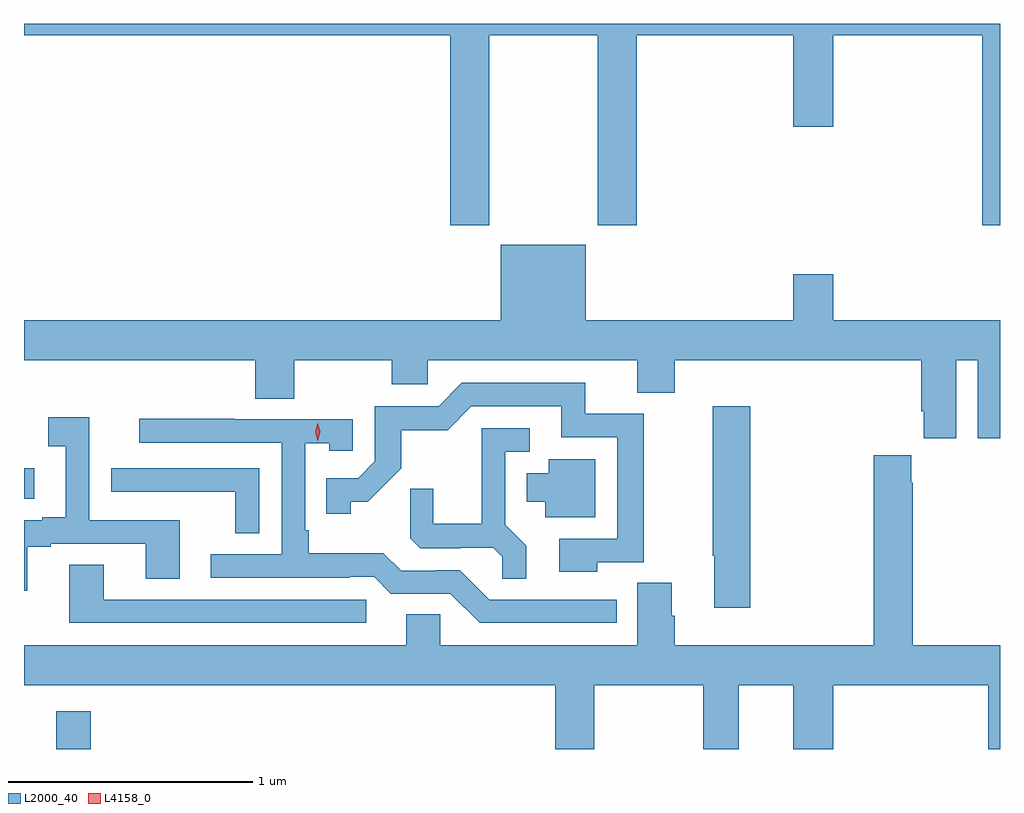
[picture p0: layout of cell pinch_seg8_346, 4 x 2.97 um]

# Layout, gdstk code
import gdstk
lib = gdstk.Library(unit=1e-6, precision=1e-09)
def R(c, l, rs):  # rectangles x0, y0, x1, y1
    for r in rs: c.add(gdstk.rectangle(r[:2], r[2:], *l))
def P(c, l, *ps):  # polygons
    for p in ps: c.add(gdstk.Polygon(p, *l))
L2000_40 = (2000, 40)
L4158_0 = (4158, 0)

pinch_seg8_346 = lib.new_cell('pinch_seg8_346')
R(pinch_seg8_346, L2000_40, [(437.711,1161.526,437.852,1161.682), (437.579,1162.553,437.62,1162.677)])
P(pinch_seg8_346, L2000_40, [(437.579,1164.452),(439.325,1164.452),(439.325,1163.673),(439.485,1163.673),(439.485,1164.452),(439.93,1164.452),(439.93,1163.673),(440.09,1163.673),(440.09,1164.452),(440.732,1164.452),(440.732,1164.078),(440.896,1164.078),(440.896,1164.452),(441.506,1164.452),(441.506,1163.673),(441.579,1163.673),(441.579,1164.5),(437.579,1164.5)],
  [(441.4,1163.12),(441.488,1163.12),(441.488,1162.8),(441.579,1162.8),(441.579,1163.284),(440.896,1163.284),(440.896,1163.473),(440.732,1163.473),(440.732,1163.284),(439.882,1163.284),(439.882,1163.593),(439.532,1163.593),(439.532,1163.284),(437.579,1163.284),(437.579,1163.12),(438.527,1163.12),(438.527,1162.963),(438.687,1162.963),(438.687,1163.12),(439.087,1163.12),(439.087,1163.022),(439.233,1163.022),(439.233,1163.12),(440.093,1163.12),(440.093,1162.987),(440.246,1162.987),(440.246,1163.12),(441.257,1163.12),(441.257,1162.912),(441.266,1162.912),(441.266,1162.8),(441.4,1162.8)],
  [(439.929,1162.293),(440.119,1162.293),(440.119,1162.902),(439.88,1162.902),(439.88,1163.028),(439.374,1163.028),(439.278,1162.932),(439.017,1162.932),(439.017,1162.707),(438.948,1162.638),(438.817,1162.638),(438.817,1162.491),(438.918,1162.491),(438.918,1162.541),(438.988,1162.541),(439.126,1162.678),(439.126,1162.834),(439.315,1162.834),(439.413,1162.932),(439.781,1162.932),(439.781,1162.806),(440.01,1162.806),(440.01,1162.389),(439.773,1162.389),(439.773,1162.253),(439.929,1162.253)],
  [(440.555,1162.933),(440.401,1162.933),(440.401,1162.319),(440.408,1162.319),(440.408,1162.107),(440.555,1162.107)],
  [(437.593,1162.356),(437.689,1162.356),(437.689,1162.368),(438.077,1162.368),(438.077,1162.225),(438.217,1162.225),(438.217,1162.464),(437.847,1162.464),(437.847,1162.888),(437.679,1162.888),(437.679,1162.768),(437.75,1162.768),(437.75,1162.477),(437.654,1162.477),(437.654,1162.464),(437.579,1162.464),(437.579,1162.176),(437.593,1162.176)],
  [(440.008,1162.14),(439.485,1162.14),(439.365,1162.26),(439.264,1162.26),(439.264,1162.257),(439.125,1162.257),(439.052,1162.33),(438.745,1162.33),(438.745,1162.423),(438.732,1162.423),(438.732,1162.781),(438.831,1162.781),(438.831,1162.749),(438.927,1162.749),(438.927,1162.878),(438.443,1162.878),(438.443,1162.881),(438.051,1162.881),(438.051,1162.782),(438.636,1162.782),(438.636,1162.326),(438.345,1162.326),(438.345,1162.23),(438.914,1162.23),(438.914,1162.233),(439.014,1162.233),(439.083,1162.164),(439.326,1162.164),(439.446,1162.044),(440.008,1162.044)],
  [(439.637,1162.361),(439.551,1162.447),(439.551,1162.746),(439.651,1162.746),(439.651,1162.842),(439.454,1162.842),(439.454,1162.45),(439.256,1162.45),(439.256,1162.593),(439.162,1162.593),(439.162,1162.391),(439.203,1162.35),(439.368,1162.35),(439.368,1162.353),(439.502,1162.353),(439.539,1162.316),(439.539,1162.225),(439.637,1162.225)],
  [(439.917,1161.788),(440.362,1161.788),(440.362,1161.526),(440.509,1161.526),(440.509,1161.788),(440.732,1161.788),(440.732,1161.526),(440.896,1161.526),(440.896,1161.788),(441.53,1161.788),(441.53,1161.526),(441.579,1161.526),(441.579,1161.952),(441.222,1161.952),(441.222,1162.619),(441.215,1162.619),(441.215,1162.732),(441.062,1162.732),(441.062,1161.952),(440.246,1161.952),(440.246,1162.074),(440.233,1162.074),(440.233,1162.208),(440.093,1162.208),(440.093,1161.952),(439.284,1161.952),(439.284,1162.079),(439.145,1162.079),(439.145,1161.952),(437.579,1161.952),(437.579,1161.788),(439.757,1161.788),(439.757,1161.526),(439.917,1161.526)],
  [(439.921,1162.714),(439.73,1162.714),(439.73,1162.657),(439.64,1162.657),(439.64,1162.541),(439.715,1162.541),(439.715,1162.478),(439.921,1162.478)],
  [(438.543,1162.677),(437.937,1162.677),(437.937,1162.582),(438.049,1162.582),(438.049,1162.581),(438.445,1162.581),(438.445,1162.411),(438.543,1162.411)],
  [(438.982,1162.14),(437.905,1162.14),(437.905,1162.283),(437.765,1162.283),(437.765,1162.044),(438.982,1162.044)])
P(pinch_seg8_346, L4158_0, [(438.783,1162.791),(438.783,1162.791),(438.773,1162.827),(438.783,1162.863),(438.783,1162.863),(438.783,1162.863),(438.793,1162.827),(438.783,1162.791)])

lib.write_gds('pinch_seg8_346.gds')
